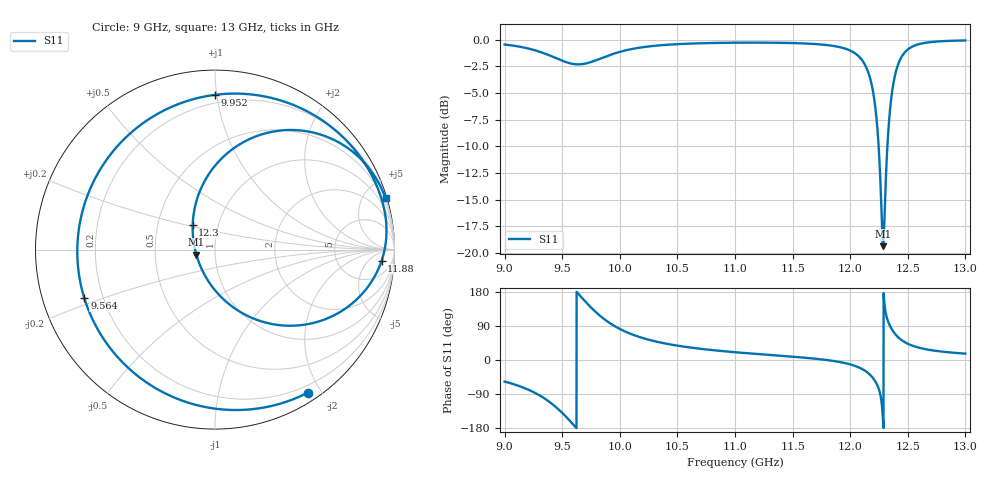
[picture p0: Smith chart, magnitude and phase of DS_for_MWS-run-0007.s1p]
! TOUCHSTONE file generated by CST DESIGN STUDIO
! Date and time: Tue Feb  4 17:58:48 2025
! Project name: C:\Work\MatlabApps\UnitCellOptimizationMatlab\CST\unitcell.cst
! Tree item: Tasks\Sweep1\SPara1\S-Parameters
! Header version: 2024
! Port assignment regex: !\s*Touchstone port\s*([0-9]+)\s*=\s*(CST MWS port|CST DES external port|CST DES block port)\s*(.+)\s* \(\"(.*)\"\)(\s*mode\s*([0-9]+))?.*
! Touchstone port assignment:
! Touchstone port 1 = CST DES external port 1 ("")
# GHz S MA R 50
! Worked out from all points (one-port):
!   4001 points, 9 GHz to 13 GHz, reference 50 ohm
!   lowest |S11| = -19.4 dB at 12.29 GHz (marker M1), VSWR 1.24, Z = 40.5 - j2.32 ohm
!   |S11| at or under -10 dB: 12.25 GHz to 12.32 GHz (75.6 MHz wide, 0.615 % of centre)
!   S11 on the Smith chart (normalised r, x): 9 GHz: 0.11, -1.84; 9.564 GHz: 0.13, -0.18; 9.952 GHz: 0.15, +0.99; 11.88 GHz: 15, -14; 12.3 GHz: 0.75, +0.21; 13 GHz: 0.17, +6.75
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9  0.9499 -56.9
9.156  0.9225 -72.1
9.307  0.8778 -94.0
9.408  0.8369 -114.9
9.5  0.7978 -139.5
9.564  0.7768 -159.6
9.663  0.7679 166.8
9.774  0.7944 131.5
9.858  0.8269 109.5
9.952  0.8622 90.1
10  0.8777 82.0
10.219  0.9261 56.2
10.5  0.9539 37.9
11  0.9691 20.6
11.5  0.9653 8.8
11.88  0.9306 -3.8
12  0.89 -11.6
12.111  0.7914 -25.0
12.192  0.5955 -45.4
12.24  0.3602 -69.7
12.273  0.1501 -113.4
12.286  0.1077 -164.8
12.304  0.1847 132.3
12.338  0.4212 94.8
12.383  0.6583 71.4
12.5  0.9004 42.9
12.671  0.9714 27.6
13  0.9927 16.8
